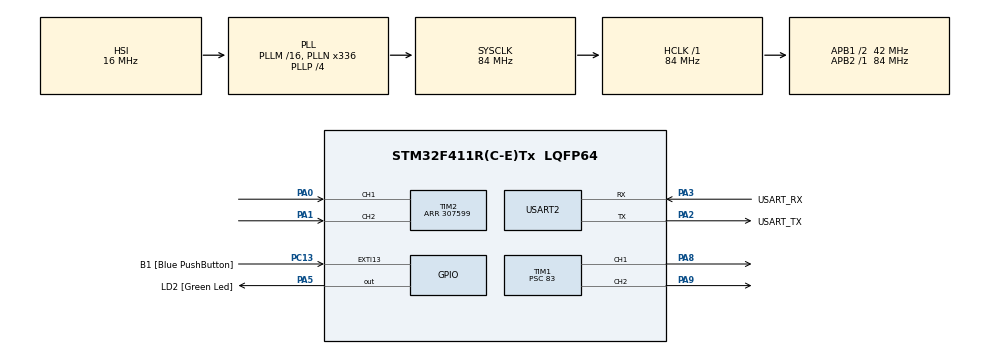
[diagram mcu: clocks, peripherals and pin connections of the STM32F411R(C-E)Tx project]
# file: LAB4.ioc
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Mcu.Family=STM32F4
Mcu.Name=STM32F411R(C-E)Tx
Mcu.Package=LQFP64
NVIC.PriorityGroup=NVIC_PRIORITYGROUP_0
PA0-WKUP.Signal=S_TIM2_CH1_ETR
PA1.Signal=S_TIM2_CH2
PA13.GPIO_Label=TMS
PA13.Mode=Serial_Wire
PA13.Signal=SYS_JTMS-SWDIO
PA14.GPIO_Label=TCK
PA14.Mode=Serial_Wire
PA14.Signal=SYS_JTCK-SWCLK
PA2.GPIO_Label=USART_TX
PA2.Mode=Asynchronous
PA2.Signal=USART2_TX
PA3.GPIO_Label=USART_RX
PA3.Mode=Asynchronous
PA3.Signal=USART2_RX
PA5.GPIO_Label=LD2 [Green Led]
PA5.Signal=GPIO_Output
PA8.Signal=S_TIM1_CH1
PA9.Signal=S_TIM1_CH2
PB3.GPIO_Label=SWO
PB3.Signal=SYS_JTDO-SWO
PC13-ANTI_TAMP.GPIO_Label=B1 [Blue PushButton]
PC13-ANTI_TAMP.GPIO_ModeDefaultEXTI=GPIO_MODE_IT_FALLING
PC13-ANTI_TAMP.Signal=GPXTI13
PC14-OSC32_IN.Mode=LSE-External-Oscillator
PC14-OSC32_IN.Signal=RCC_OSC32_IN
PC15-OSC32_OUT.Mode=LSE-External-Oscillator
PC15-OSC32_OUT.Signal=RCC_OSC32_OUT
PH0\ -\ OSC_IN.Mode=HSE-External-Clock-Source
PH0\ -\ OSC_IN.Signal=RCC_OSC_IN
PH1\ -\ OSC_OUT.Mode=HSE-External-Clock-Source
PH1\ -\ OSC_OUT.Signal=RCC_OSC_OUT
ProjectManager.HeapSize=0x200
ProjectManager.StackSize=0x400
ProjectManager.TargetToolchain=STM32CubeIDE
RCC.48MHZClocksFreq_Value=84000000
RCC.AHBFreq_Value=84000000
RCC.APB1CLKDivider=RCC_HCLK_DIV2
RCC.APB1Freq_Value=42000000
RCC.APB1TimFreq_Value=84000000
RCC.APB2Freq_Value=84000000
RCC.APB2TimFreq_Value=84000000
RCC.CortexFreq_Value=84000000
RCC.FLatency-AdvancedSettings=FLASH_LATENCY_2
RCC.HCLKFreq_Value=84000000
RCC.HSE_VALUE=8000000
RCC.HSI_VALUE=16000000
RCC.PLLN=336
RCC.PLLP=RCC_PLLP_DIV4
RCC.SYSCLKFreq_VALUE=84000000
RCC.SYSCLKSource=RCC_SYSCLKSOURCE_PLLCLK
RCC.VCOOutputFreq_Value=336000000
SH.S_TIM1_CH1.0=TIM1_CH1,PWM Generation1 CH1
SH.S_TIM1_CH2.0=TIM1_CH2,PWM Generation2 CH2
SH.S_TIM2_CH1_ETR.0=TIM2_CH1,Encoder_Interface
SH.S_TIM2_CH2.0=TIM2_CH2,Encoder_Interface
TIM1.Channel-PWM\ Generation1\ CH1=TIM_CHANNEL_1
TIM1.Channel-PWM\ Generation2\ CH2=TIM_CHANNEL_2
TIM1.Period=999
TIM1.Prescaler=83
TIM2.EncoderMode=TIM_ENCODERMODE_TI12
TIM2.Period=307599
USART2.VirtualMode=VM_ASYNC
VP_TIM1_VS_ClockSourceINT.Mode=Internal
board=NUCLEO-F411RE

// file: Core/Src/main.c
/* USER CODE BEGIN Header */
/**
  ******************************************************************************
  * @file           : main.c
  * @brief          : Main program body
  ******************************************************************************
  * @attention
  *
  * Copyright (c) 2023 STMicroelectronics.
  * All rights reserved.
  *
  * This software is licensed under terms that can be found in the LICENSE file
  * in the root directory of this software component.
  * If no LICENSE file comes with this software, it is provided AS-IS.
  *
  ******************************************************************************
  */
/* USER CODE END Header */
#include "main.h"

/* USER CODE BEGIN Includes */
//tanapat
/* USER CODE END Includes */

TIM_HandleTypeDef htim1;
TIM_HandleTypeDef htim2;

UART_HandleTypeDef huart2;

/* USER CODE BEGIN PV */
float QEIReadRaw;
float setPosition = 0;
float error_last = 0;
float integral_last = 0;
float PIDoutput;
float Kp = 200;
float Ki = 0.00001;
float Kd = 5;

/* USER CODE END PV */

void SystemClock_Config(void);
static void MX_GPIO_Init(void);
static void MX_USART2_UART_Init(void);
static void MX_TIM1_Init(void);
static void MX_TIM2_Init(void);
/* USER CODE BEGIN PFP */
float PID_Con();
/* USER CODE END PFP */

int main(void)
{

  /* MCU Configuration--------------------------------------------------------*/

  /* Reset of all peripherals, Initializes the Flash interface and the Systick. */
  HAL_Init();

  /* Configure the system clock */
  SystemClock_Config();

  /* Initialize all configured peripherals */
  MX_GPIO_Init();
  MX_USART2_UART_Init();
  MX_TIM1_Init();
  MX_TIM2_Init();
  /* USER CODE BEGIN 2 */
  HAL_TIM_Base_Start(&htim1);
  HAL_TIM_Encoder_Start(&htim2, TIM_CHANNEL_1|TIM_CHANNEL_2);

  HAL_TIM_PWM_Start(&htim1, TIM_CHANNEL_1);
  HAL_TIM_PWM_Start(&htim1, TIM_CHANNEL_2);
  /* USER CODE END 2 */

  /* Infinite loop */
  while (1)
  {

    /* USER CODE BEGIN 3 */

	  static uint32_t timestamp =0;
	  if(HAL_GetTick()>timestamp){

	  		timestamp = HAL_GetTick()+1;
	  		QEIReadRaw = __HAL_TIM_GET_COUNTER(&htim2)*(360.0/3072.0);
	  		PIDoutput = PID_Con();
	  		if(QEIReadRaw > 36000){QEIReadRaw = QEIReadRaw - 36048;}
	  		__HAL_TIM_SET_COMPARE(&htim1,TIM_CHANNEL_1,PIDoutput);
	  		__HAL_TIM_SET_COMPARE(&htim1,TIM_CHANNEL_2,0);

	  		if(PIDoutput < 0){
		  		__HAL_TIM_SET_COMPARE(&htim1,TIM_CHANNEL_1,0);
		  		__HAL_TIM_SET_COMPARE(&htim1,TIM_CHANNEL_2,PIDoutput*-1);
	  		}
	    }

  }
  /* USER CODE END 3 */
}

void SystemClock_Config(void)
{
  RCC_OscInitTypeDef RCC_OscInitStruct = {0};
  RCC_ClkInitTypeDef RCC_ClkInitStruct = {0};

  /** Configure the main internal regulator output voltage
  */
  __HAL_RCC_PWR_CLK_ENABLE();
  __HAL_PWR_VOLTAGESCALING_CONFIG(PWR_REGULATOR_VOLTAGE_SCALE1);

  /** Initializes the RCC Oscillators according to the specified parameters
  * in the RCC_OscInitTypeDef structure.
  */
  RCC_OscInitStruct.OscillatorType = RCC_OSCILLATORTYPE_HSI;
  RCC_OscInitStruct.HSIState = RCC_HSI_ON;
  RCC_OscInitStruct.HSICalibrationValue = RCC_HSICALIBRATION_DEFAULT;
  RCC_OscInitStruct.PLL.PLLState = RCC_PLL_ON;
  RCC_OscInitStruct.PLL.PLLSource = RCC_PLLSOURCE_HSI;
  RCC_OscInitStruct.PLL.PLLM = 16;
  RCC_OscInitStruct.PLL.PLLN = 336;
  RCC_OscInitStruct.PLL.PLLP = RCC_PLLP_DIV4;
  RCC_OscInitStruct.PLL.PLLQ = 4;
  if (HAL_RCC_OscConfig(&RCC_OscInitStruct) != HAL_OK)
  {
    Error_Handler();
  }

  /** Initializes the CPU, AHB and APB buses clocks
  */
  RCC_ClkInitStruct.ClockType = RCC_CLOCKTYPE_HCLK|RCC_CLOCKTYPE_SYSCLK
                              |RCC_CLOCKTYPE_PCLK1|RCC_CLOCKTYPE_PCLK2;
  RCC_ClkInitStruct.SYSCLKSource = RCC_SYSCLKSOURCE_PLLCLK;
  RCC_ClkInitStruct.AHBCLKDivider = RCC_SYSCLK_DIV1;
  RCC_ClkInitStruct.APB1CLKDivider = RCC_HCLK_DIV2;
  RCC_ClkInitStruct.APB2CLKDivider = RCC_HCLK_DIV1;

  if (HAL_RCC_ClockConfig(&RCC_ClkInitStruct, FLASH_LATENCY_2) != HAL_OK)
  {
    Error_Handler();
  }
}

static void MX_TIM1_Init(void)
{

  TIM_ClockConfigTypeDef sClockSourceConfig = {0};
  TIM_MasterConfigTypeDef sMasterConfig = {0};
  TIM_OC_InitTypeDef sConfigOC = {0};
  TIM_BreakDeadTimeConfigTypeDef sBreakDeadTimeConfig = {0};

  htim1.Instance = TIM1;
  htim1.Init.Prescaler = 83;
  htim1.Init.CounterMode = TIM_COUNTERMODE_UP;
  htim1.Init.Period = 999;
  htim1.Init.ClockDivision = TIM_CLOCKDIVISION_DIV1;
  htim1.Init.RepetitionCounter = 0;
  htim1.Init.AutoReloadPreload = TIM_AUTORELOAD_PRELOAD_DISABLE;
  if (HAL_TIM_Base_Init(&htim1) != HAL_OK)
  {
    Error_Handler();
  }
  sClockSourceConfig.ClockSource = TIM_CLOCKSOURCE_INTERNAL;
  if (HAL_TIM_ConfigClockSource(&htim1, &sClockSourceConfig) != HAL_OK)
  {
    Error_Handler();
  }
  if (HAL_TIM_PWM_Init(&htim1) != HAL_OK)
  {
    Error_Handler();
  }
  sMasterConfig.MasterOutputTrigger = TIM_TRGO_RESET;
  sMasterConfig.MasterSlaveMode = TIM_MASTERSLAVEMODE_DISABLE;
  if (HAL_TIMEx_MasterConfigSynchronization(&htim1, &sMasterConfig) != HAL_OK)
  {
    Error_Handler();
  }
  sConfigOC.OCMode = TIM_OCMODE_PWM1;
  sConfigOC.Pulse = 0;
  sConfigOC.OCPolarity = TIM_OCPOLARITY_HIGH;
  sConfigOC.OCNPolarity = TIM_OCNPOLARITY_HIGH;
  sConfigOC.OCFastMode = TIM_OCFAST_DISABLE;
  sConfigOC.OCIdleState = TIM_OCIDLESTATE_RESET;
  sConfigOC.OCNIdleState = TIM_OCNIDLESTATE_RESET;
  if (HAL_TIM_PWM_ConfigChannel(&htim1, &sConfigOC, TIM_CHANNEL_1) != HAL_OK)
  {
    Error_Handler();
  }
  if (HAL_TIM_PWM_ConfigChannel(&htim1, &sConfigOC, TIM_CHANNEL_2) != HAL_OK)
  {
    Error_Handler();
  }
  sBreakDeadTimeConfig.OffStateRunMode = TIM_OSSR_DISABLE;
  sBreakDeadTimeConfig.OffStateIDLEMode = TIM_OSSI_DISABLE;
  sBreakDeadTimeConfig.LockLevel = TIM_LOCKLEVEL_OFF;
  sBreakDeadTimeConfig.DeadTime = 0;
  sBreakDeadTimeConfig.BreakState = TIM_BREAK_DISABLE;
  sBreakDeadTimeConfig.BreakPolarity = TIM_BREAKPOLARITY_HIGH;
  sBreakDeadTimeConfig.AutomaticOutput = TIM_AUTOMATICOUTPUT_DISABLE;
  if (HAL_TIMEx_ConfigBreakDeadTime(&htim1, &sBreakDeadTimeConfig) != HAL_OK)
  {
    Error_Handler();
  }
  HAL_TIM_MspPostInit(&htim1);

}

static void MX_TIM2_Init(void)
{

  TIM_Encoder_InitTypeDef sConfig = {0};
  TIM_MasterConfigTypeDef sMasterConfig = {0};

  htim2.Instance = TIM2;
  htim2.Init.Prescaler = 0;
  htim2.Init.CounterMode = TIM_COUNTERMODE_UP;
  htim2.Init.Period = 307599;
  htim2.Init.ClockDivision = TIM_CLOCKDIVISION_DIV1;
  htim2.Init.AutoReloadPreload = TIM_AUTORELOAD_PRELOAD_DISABLE;
  sConfig.EncoderMode = TIM_ENCODERMODE_TI12;
  sConfig.IC1Polarity = TIM_ICPOLARITY_RISING;
  sConfig.IC1Selection = TIM_ICSELECTION_DIRECTTI;
  sConfig.IC1Prescaler = TIM_ICPSC_DIV1;
  sConfig.IC1Filter = 0;
  sConfig.IC2Polarity = TIM_ICPOLARITY_RISING;
  sConfig.IC2Selection = TIM_ICSELECTION_DIRECTTI;
  sConfig.IC2Prescaler = TIM_ICPSC_DIV1;
  sConfig.IC2Filter = 0;
  if (HAL_TIM_Encoder_Init(&htim2, &sConfig) != HAL_OK)
  {
    Error_Handler();
  }
  sMasterConfig.MasterOutputTrigger = TIM_TRGO_RESET;
  sMasterConfig.MasterSlaveMode = TIM_MASTERSLAVEMODE_DISABLE;
  if (HAL_TIMEx_MasterConfigSynchronization(&htim2, &sMasterConfig) != HAL_OK)
  {
    Error_Handler();
  }

}

static void MX_USART2_UART_Init(void)
{

  huart2.Instance = USART2;
  huart2.Init.BaudRate = 115200;
  huart2.Init.WordLength = UART_WORDLENGTH_8B;
  huart2.Init.StopBits = UART_STOPBITS_1;
  huart2.Init.Parity = UART_PARITY_NONE;
  huart2.Init.Mode = UART_MODE_TX_RX;
  huart2.Init.HwFlowCtl = UART_HWCONTROL_NONE;
  huart2.Init.OverSampling = UART_OVERSAMPLING_16;
  if (HAL_UART_Init(&huart2) != HAL_OK)
  {
    Error_Handler();
  }

}

static void MX_GPIO_Init(void)
{
  GPIO_InitTypeDef GPIO_InitStruct = {0};

  /* GPIO Ports Clock Enable */
  __HAL_RCC_GPIOC_CLK_ENABLE();
  __HAL_RCC_GPIOH_CLK_ENABLE();
  __HAL_RCC_GPIOA_CLK_ENABLE();
  __HAL_RCC_GPIOB_CLK_ENABLE();

  /*Configure GPIO pin Output Level */
  HAL_GPIO_WritePin(LD2_GPIO_Port, LD2_Pin, GPIO_PIN_RESET);

  /*Configure GPIO pin : B1_Pin */
  GPIO_InitStruct.Pin = B1_Pin;
  GPIO_InitStruct.Mode = GPIO_MODE_IT_FALLING;
  GPIO_InitStruct.Pull = GPIO_NOPULL;
  HAL_GPIO_Init(B1_GPIO_Port, &GPIO_InitStruct);

  /*Configure GPIO pin : LD2_Pin */
  GPIO_InitStruct.Pin = LD2_Pin;
  GPIO_InitStruct.Mode = GPIO_MODE_OUTPUT_PP;
  GPIO_InitStruct.Pull = GPIO_NOPULL;
  GPIO_InitStruct.Speed = GPIO_SPEED_FREQ_LOW;
  HAL_GPIO_Init(LD2_GPIO_Port, &GPIO_InitStruct);

}

/* USER CODE BEGIN 4 */
float PID_Con(){
	float error = setPosition - QEIReadRaw;
	float integral = integral_last+error*0.001;
	float derivative =(error - error_last)/0.001;
	float output = Kp*error + Ki*integral+Kd*derivative;
	error_last = error;
	integral_last = integral;

	return output;

}
/* USER CODE END 4 */

void Error_Handler(void)
{
  __disable_irq();
  while (1)
  {
  }
}
